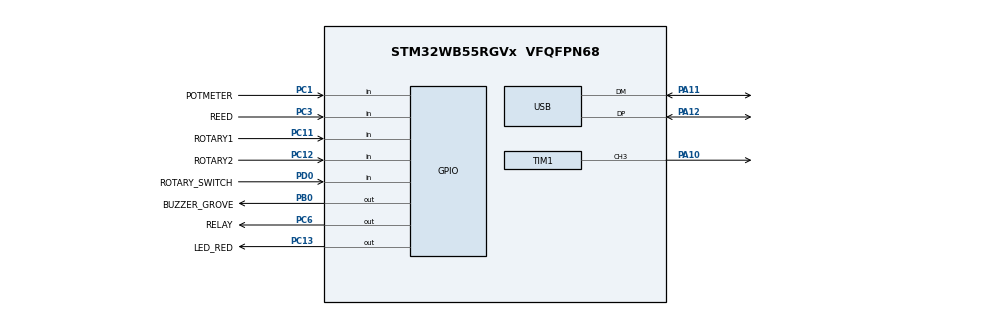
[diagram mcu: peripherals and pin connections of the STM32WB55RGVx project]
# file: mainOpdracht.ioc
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Dma.Request0=TIM1_CH3
Dma.TIM1_CH3.0.Direction=DMA_MEMORY_TO_PERIPH
Dma.TIM1_CH3.0.EventEnable=DISABLE
Dma.TIM1_CH3.0.Instance=DMA1_Channel1
Dma.TIM1_CH3.0.MemDataAlignment=DMA_MDATAALIGN_HALFWORD
Dma.TIM1_CH3.0.MemInc=DMA_MINC_ENABLE
Dma.TIM1_CH3.0.Mode=DMA_NORMAL
Dma.TIM1_CH3.0.PeriphDataAlignment=DMA_PDATAALIGN_HALFWORD
Dma.TIM1_CH3.0.PeriphInc=DMA_PINC_DISABLE
Dma.TIM1_CH3.0.Polarity=HAL_DMAMUX_REQ_GEN_RISING
Dma.TIM1_CH3.0.Priority=DMA_PRIORITY_LOW
Dma.TIM1_CH3.0.RequestNumber=1
Dma.TIM1_CH3.0.SignalID=NONE
Dma.TIM1_CH3.0.SyncEnable=DISABLE
Dma.TIM1_CH3.0.SyncPolarity=HAL_DMAMUX_SYNC_NO_EVENT
Dma.TIM1_CH3.0.SyncRequestNumber=1
Dma.TIM1_CH3.0.SyncSignalID=NONE
Mcu.Family=STM32WB
Mcu.Name=STM32WB55RGVx
Mcu.Package=VFQFPN68
NVIC.DMA1_Channel1_IRQn=true\:0\:0\:false\:false\:true\:false\:true\:true
NVIC.PriorityGroup=NVIC_PRIORITYGROUP_4
NVIC.TIM1_UP_TIM16_IRQn=true\:0\:0\:false\:false\:true\:true\:true\:true
NVIC.USB_LP_IRQn=true\:0\:0\:false\:false\:true\:false\:true\:true
PA10.Signal=S_TIM1_CH3
PA11.Mode=Device
PA11.Signal=USB_DM
PA12.Mode=Device
PA12.Signal=USB_DP
PB0.GPIO_Label=BUZZER_GROVE
PB0.Signal=GPIO_Output
PC1.GPIO_Label=POTMETER
PC1.GPIO_PuPd=GPIO_NOPULL
PC1.Signal=GPIO_Input
PC11.GPIO_Label=ROTARY1
PC11.Signal=GPIO_Input
PC12.GPIO_Label=ROTARY2
PC12.Signal=GPIO_Input
PC13.GPIO_Label=LED_RED
PC13.Signal=GPIO_Output
PC3.GPIO_Label=REED
PC3.Signal=GPIO_Input
PC6.GPIO_Label=RELAY
PC6.Signal=GPIO_Output
PD0.GPIO_Label=ROTARY_SWITCH
PD0.Signal=GPIO_Input
ProjectManager.HeapSize=0x200
ProjectManager.StackSize=0x400
ProjectManager.TargetToolchain=STM32CubeIDE
RCC.ADCFreq_Value=48000000
RCC.AHB2CLKDivider=RCC_SYSCLK_DIV2
RCC.AHBFreq_Value=64000000
RCC.APB1Freq_Value=64000000
RCC.APB1TimFreq_Value=64000000
RCC.APB2Freq_Value=64000000
RCC.APB2TimFreq_Value=64000000
RCC.APB3Freq_Value=16000000
RCC.Cortex2_Div=SYSTICK_CLKSOURCE_HCLK_DIV8
RCC.CortexFreq_Value=64000000
RCC.HCLKFreq_Value=64000000
RCC.HSE_VALUE=8000000
RCC.HSI48_VALUE=48000000
RCC.HSI_VALUE=16000000
RCC.LSE_VALUE=32768
RCC.PLLN=32
RCC.PLLSAI1N=24
RCC.SYSCLKFreq_VALUE=64000000
RCC.SYSCLKSource=RCC_SYSCLKSOURCE_PLLCLK
RCC.USBFreq_Value=48000000
RCC.VCOOutputFreq_Value=128000000
SH.S_TIM1_CH3.0=TIM1_CH3,PWM Generation3 CH3
TIM1.Channel-PWM\ Generation3\ CH3=TIM_CHANNEL_3
TIM1.Period=75- 1
TIM16.AutoReloadPreload=TIM_AUTORELOAD_PRELOAD_ENABLE
TIM16.Period=60000
TIM16.Prescaler=63998
USB_DEVICE.CLASS_NAME_FS=CDC
USB_DEVICE.VirtualMode=Cdc
USB_DEVICE.VirtualModeFS=Cdc_FS
VP_TIM16_VS_ClockSourceINT.Mode=Enable_Timer
VP_TIM1_VS_ClockSourceINT.Mode=Internal
VP_USB_DEVICE_VS_USB_DEVICE_CDC_FS.Mode=CDC_FS
board=custom

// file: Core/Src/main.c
/* USER CODE BEGIN Header */
/**
  ******************************************************************************
  * @file           : main.c
  * @brief          : Main program body
  ******************************************************************************
  * @attention
  *
  * Copyright (c) 2023 STMicroelectronics.
  * All rights reserved.
  *
  * This software is licensed under terms that can be found in the LICENSE file
  * in the root directory of this software component.
  * If no LICENSE file comes with this software, it is provided AS-IS.
  *
  ******************************************************************************
  */
/* USER CODE END Header */
#include "main.h"
#include "usb_device.h"

/* USER CODE BEGIN Includes */
#include "rotary.h"
#include "reed.h"
#include "buzzer.h"
#include "relay.h"
#include "ledstrip.h"
#include <stdbool.h>

/* USER CODE END Includes */

TIM_HandleTypeDef htim1;
TIM_HandleTypeDef htim16;
DMA_HandleTypeDef hdma_tim1_ch3;

void SystemClock_Config(void);
void PeriphCommonClock_Config(void);
static void MX_GPIO_Init(void);
static void MX_DMA_Init(void);
static void MX_TIM16_Init(void);
static void MX_TIM1_Init(void);

/* USER CODE BEGIN 0 */
#define WS2812_LED_MAX 10
uint8_t LED_Data[WS2812_LED_MAX][4];
int datasentflag = 0;

void HAL_TIM_PWM_PulseFinishedCallback(TIM_HandleTypeDef *htim)
{
  HAL_TIM_PWM_Stop_DMA(&htim1, TIM_CHANNEL_3);
  datasentflag = 1;
}

void ws2812_Set_LED(int LEDnum, int Red, int Green, int Blue)
{
  LED_Data[LEDnum][0] = LEDnum;
  LED_Data[LEDnum][1] = Green;
  LED_Data[LEDnum][2] = Red;
  LED_Data[LEDnum][3] = Blue;
}

void ws2812_SetAll_LED(int Red, int Green, int Blue)
{
  for (int i = 0; i < WS2812_LED_MAX; i++)
  {
    ws2812_Set_LED(i, Red, Green, Blue);
  }
}

void ws2812_Send_PWM(void)
{
  uint16_t pwmData[24 * (WS2812_LED_MAX) + 50];
  uint32_t indx = 0;
  uint32_t color;
  for (int i = 0; i < WS2812_LED_MAX; i++)
  {
    color = ((LED_Data[i][1] << 16) | (LED_Data[i][2] << 8) | (LED_Data[i][3]));
    for (int i = 23; i >= 0; i--)
    {
      if (color & (1 << i))
      {
        pwmData[indx] = 50; // 2/3 of ARR=75
      }

      else
        pwmData[indx] = 25; // 1/3 of ARR=75

      indx++;
    }
  }
  for (int i = 0; i < 50; i++)
  {
    pwmData[indx] = 0;
    indx++;
  }
  HAL_TIM_PWM_Start_DMA(&htim1, TIM_CHANNEL_3, (uint32_t *)pwmData, indx);
  while (!datasentflag)
  {
  };
  datasentflag = 0;
}

bool bAlarmGestart = false;
bool buzzerIsPlaying = true;

void StartAlarm() {
	if(!bAlarmGestart) {
		printf("Alarm aan het starten....");
		bAlarmGestart = true;
	  // set state of bool
	}
}
/* USER CODE END 0 */

int main(void)
{

  /* MCU Configuration--------------------------------------------------------*/

  /* Reset of all peripherals, Initializes the Flash interface and the Systick. */
  HAL_Init();

  /* Configure the system clock */
  SystemClock_Config();

/* Configure the peripherals common clocks */
  PeriphCommonClock_Config();

  /* Initialize all configured peripherals */
  MX_GPIO_Init();
  MX_DMA_Init();
  MX_USB_Device_Init();
  MX_TIM16_Init();
  MX_TIM1_Init();

  /* Infinite loop */
  /* USER CODE BEGIN WHILE */

  ws2812_SetAll_LED(0, 0, 0);
  ws2812_Send_PWM();

  while (1)
  {
	if(buzzerIsPlaying) {
		Play_Buzzer(true);
		Relay_On();
	}
	else {
		Play_Buzzer(false);
		Relay_Off();
	}
	//ledstrip_Pulse();

	//Play_Buzzer();
    Read_Rotary();
    Read_Reed();

    /* USER CODE END WHILE */

  }
}

void SystemClock_Config(void)
{
  RCC_OscInitTypeDef RCC_OscInitStruct = {0};
  RCC_ClkInitTypeDef RCC_ClkInitStruct = {0};

  /** Configure the main internal regulator output voltage
  */
  __HAL_PWR_VOLTAGESCALING_CONFIG(PWR_REGULATOR_VOLTAGE_SCALE1);

  /** Initializes the RCC Oscillators according to the specified parameters
  * in the RCC_OscInitTypeDef structure.
  */
  RCC_OscInitStruct.OscillatorType = RCC_OSCILLATORTYPE_HSI|RCC_OSCILLATORTYPE_LSE
                              |RCC_OSCILLATORTYPE_MSI;
  RCC_OscInitStruct.LSEState = RCC_LSE_OFF;
  RCC_OscInitStruct.HSIState = RCC_HSI_ON;
  RCC_OscInitStruct.MSIState = RCC_MSI_ON;
  RCC_OscInitStruct.HSICalibrationValue = RCC_HSICALIBRATION_DEFAULT;
  RCC_OscInitStruct.MSICalibrationValue = RCC_MSICALIBRATION_DEFAULT;
  RCC_OscInitStruct.MSIClockRange = RCC_MSIRANGE_6;
  RCC_OscInitStruct.PLL.PLLState = RCC_PLL_ON;
  RCC_OscInitStruct.PLL.PLLSource = RCC_PLLSOURCE_MSI;
  RCC_OscInitStruct.PLL.PLLM = RCC_PLLM_DIV1;
  RCC_OscInitStruct.PLL.PLLN = 32;
  RCC_OscInitStruct.PLL.PLLP = RCC_PLLP_DIV2;
  RCC_OscInitStruct.PLL.PLLR = RCC_PLLR_DIV2;
  RCC_OscInitStruct.PLL.PLLQ = RCC_PLLQ_DIV2;
  if (HAL_RCC_OscConfig(&RCC_OscInitStruct) != HAL_OK)
  {
    Error_Handler();
  }

  /** Configure the SYSCLKSource, HCLK, PCLK1 and PCLK2 clocks dividers
  */
  RCC_ClkInitStruct.ClockType = RCC_CLOCKTYPE_HCLK4|RCC_CLOCKTYPE_HCLK2
                              |RCC_CLOCKTYPE_HCLK|RCC_CLOCKTYPE_SYSCLK
                              |RCC_CLOCKTYPE_PCLK1|RCC_CLOCKTYPE_PCLK2;
  RCC_ClkInitStruct.SYSCLKSource = RCC_SYSCLKSOURCE_PLLCLK;
  RCC_ClkInitStruct.AHBCLKDivider = RCC_SYSCLK_DIV1;
  RCC_ClkInitStruct.APB1CLKDivider = RCC_HCLK_DIV1;
  RCC_ClkInitStruct.APB2CLKDivider = RCC_HCLK_DIV1;
  RCC_ClkInitStruct.AHBCLK2Divider = RCC_SYSCLK_DIV2;
  RCC_ClkInitStruct.AHBCLK4Divider = RCC_SYSCLK_DIV1;

  if (HAL_RCC_ClockConfig(&RCC_ClkInitStruct, FLASH_LATENCY_3) != HAL_OK)
  {
    Error_Handler();
  }

  /** Enable MSI Auto calibration
  */
  HAL_RCCEx_EnableMSIPLLMode();
}

void PeriphCommonClock_Config(void)
{
  RCC_PeriphCLKInitTypeDef PeriphClkInitStruct = {0};

  /** Initializes the peripherals clock
  */
  PeriphClkInitStruct.PeriphClockSelection = RCC_PERIPHCLK_SMPS;
  PeriphClkInitStruct.SmpsClockSelection = RCC_SMPSCLKSOURCE_HSI;
  PeriphClkInitStruct.SmpsDivSelection = RCC_SMPSCLKDIV_RANGE1;

  if (HAL_RCCEx_PeriphCLKConfig(&PeriphClkInitStruct) != HAL_OK)
  {
    Error_Handler();
  }
}

static void MX_TIM1_Init(void)
{

  TIM_ClockConfigTypeDef sClockSourceConfig = {0};
  TIM_MasterConfigTypeDef sMasterConfig = {0};
  TIM_OC_InitTypeDef sConfigOC = {0};
  TIM_BreakDeadTimeConfigTypeDef sBreakDeadTimeConfig = {0};

  htim1.Instance = TIM1;
  htim1.Init.Prescaler = 0;
  htim1.Init.CounterMode = TIM_COUNTERMODE_UP;
  htim1.Init.Period = 75- 1;
  htim1.Init.ClockDivision = TIM_CLOCKDIVISION_DIV1;
  htim1.Init.RepetitionCounter = 0;
  htim1.Init.AutoReloadPreload = TIM_AUTORELOAD_PRELOAD_DISABLE;
  if (HAL_TIM_Base_Init(&htim1) != HAL_OK)
  {
    Error_Handler();
  }
  sClockSourceConfig.ClockSource = TIM_CLOCKSOURCE_INTERNAL;
  if (HAL_TIM_ConfigClockSource(&htim1, &sClockSourceConfig) != HAL_OK)
  {
    Error_Handler();
  }
  if (HAL_TIM_PWM_Init(&htim1) != HAL_OK)
  {
    Error_Handler();
  }
  sMasterConfig.MasterOutputTrigger = TIM_TRGO_RESET;
  sMasterConfig.MasterOutputTrigger2 = TIM_TRGO2_RESET;
  sMasterConfig.MasterSlaveMode = TIM_MASTERSLAVEMODE_DISABLE;
  if (HAL_TIMEx_MasterConfigSynchronization(&htim1, &sMasterConfig) != HAL_OK)
  {
    Error_Handler();
  }
  sConfigOC.OCMode = TIM_OCMODE_PWM1;
  sConfigOC.Pulse = 0;
  sConfigOC.OCPolarity = TIM_OCPOLARITY_HIGH;
  sConfigOC.OCNPolarity = TIM_OCNPOLARITY_HIGH;
  sConfigOC.OCFastMode = TIM_OCFAST_DISABLE;
  sConfigOC.OCIdleState = TIM_OCIDLESTATE_RESET;
  sConfigOC.OCNIdleState = TIM_OCNIDLESTATE_RESET;
  if (HAL_TIM_PWM_ConfigChannel(&htim1, &sConfigOC, TIM_CHANNEL_3) != HAL_OK)
  {
    Error_Handler();
  }
  sBreakDeadTimeConfig.OffStateRunMode = TIM_OSSR_DISABLE;
  sBreakDeadTimeConfig.OffStateIDLEMode = TIM_OSSI_DISABLE;
  sBreakDeadTimeConfig.LockLevel = TIM_LOCKLEVEL_OFF;
  sBreakDeadTimeConfig.DeadTime = 0;
  sBreakDeadTimeConfig.BreakState = TIM_BREAK_DISABLE;
  sBreakDeadTimeConfig.BreakPolarity = TIM_BREAKPOLARITY_HIGH;
  sBreakDeadTimeConfig.BreakFilter = 0;
  sBreakDeadTimeConfig.BreakAFMode = TIM_BREAK_AFMODE_INPUT;
  sBreakDeadTimeConfig.Break2State = TIM_BREAK2_DISABLE;
  sBreakDeadTimeConfig.Break2Polarity = TIM_BREAK2POLARITY_HIGH;
  sBreakDeadTimeConfig.Break2Filter = 0;
  sBreakDeadTimeConfig.Break2AFMode = TIM_BREAK_AFMODE_INPUT;
  sBreakDeadTimeConfig.AutomaticOutput = TIM_AUTOMATICOUTPUT_DISABLE;
  if (HAL_TIMEx_ConfigBreakDeadTime(&htim1, &sBreakDeadTimeConfig) != HAL_OK)
  {
    Error_Handler();
  }
  HAL_TIM_MspPostInit(&htim1);

}

static void MX_TIM16_Init(void)
{

  htim16.Instance = TIM16;
  htim16.Init.Prescaler = 63998;
  htim16.Init.CounterMode = TIM_COUNTERMODE_UP;
  htim16.Init.Period = 60000;
  htim16.Init.ClockDivision = TIM_CLOCKDIVISION_DIV1;
  htim16.Init.RepetitionCounter = 0;
  htim16.Init.AutoReloadPreload = TIM_AUTORELOAD_PRELOAD_ENABLE;
  if (HAL_TIM_Base_Init(&htim16) != HAL_OK)
  {
    Error_Handler();
  }

}

static void MX_DMA_Init(void)
{

  /* DMA controller clock enable */
  __HAL_RCC_DMAMUX1_CLK_ENABLE();
  __HAL_RCC_DMA1_CLK_ENABLE();

  /* DMA interrupt init */
  /* DMA1_Channel1_IRQn interrupt configuration */
  HAL_NVIC_SetPriority(DMA1_Channel1_IRQn, 0, 0);
  HAL_NVIC_EnableIRQ(DMA1_Channel1_IRQn);

}

static void MX_GPIO_Init(void)
{
  GPIO_InitTypeDef GPIO_InitStruct = {0};

  /* GPIO Ports Clock Enable */
  __HAL_RCC_GPIOC_CLK_ENABLE();
  __HAL_RCC_GPIOB_CLK_ENABLE();
  __HAL_RCC_GPIOA_CLK_ENABLE();
  __HAL_RCC_GPIOD_CLK_ENABLE();

  /*Configure GPIO pin Output Level */
  HAL_GPIO_WritePin(GPIOC, LED_RED_Pin|RELAY_Pin, GPIO_PIN_RESET);

  /*Configure GPIO pin Output Level */
  HAL_GPIO_WritePin(BUZZER_GROVE_GPIO_Port, BUZZER_GROVE_Pin, GPIO_PIN_RESET);

  /*Configure GPIO pins : LED_RED_Pin RELAY_Pin */
  GPIO_InitStruct.Pin = LED_RED_Pin|RELAY_Pin;
  GPIO_InitStruct.Mode = GPIO_MODE_OUTPUT_PP;
  GPIO_InitStruct.Pull = GPIO_NOPULL;
  GPIO_InitStruct.Speed = GPIO_SPEED_FREQ_LOW;
  HAL_GPIO_Init(GPIOC, &GPIO_InitStruct);

  /*Configure GPIO pins : POTMETER_Pin REED_Pin ROTARY1_Pin ROTARY2_Pin */
  GPIO_InitStruct.Pin = POTMETER_Pin|REED_Pin|ROTARY1_Pin|ROTARY2_Pin;
  GPIO_InitStruct.Mode = GPIO_MODE_INPUT;
  GPIO_InitStruct.Pull = GPIO_NOPULL;
  HAL_GPIO_Init(GPIOC, &GPIO_InitStruct);

  /*Configure GPIO pin : BUZZER_GROVE_Pin */
  GPIO_InitStruct.Pin = BUZZER_GROVE_Pin;
  GPIO_InitStruct.Mode = GPIO_MODE_OUTPUT_PP;
  GPIO_InitStruct.Pull = GPIO_NOPULL;
  GPIO_InitStruct.Speed = GPIO_SPEED_FREQ_LOW;
  HAL_GPIO_Init(BUZZER_GROVE_GPIO_Port, &GPIO_InitStruct);

  /*Configure GPIO pin : ROTARY_SWITCH_Pin */
  GPIO_InitStruct.Pin = ROTARY_SWITCH_Pin;
  GPIO_InitStruct.Mode = GPIO_MODE_INPUT;
  GPIO_InitStruct.Pull = GPIO_NOPULL;
  HAL_GPIO_Init(ROTARY_SWITCH_GPIO_Port, &GPIO_InitStruct);

}

void Error_Handler(void)
{
  __disable_irq();
  while (1)
  {
  }
}
